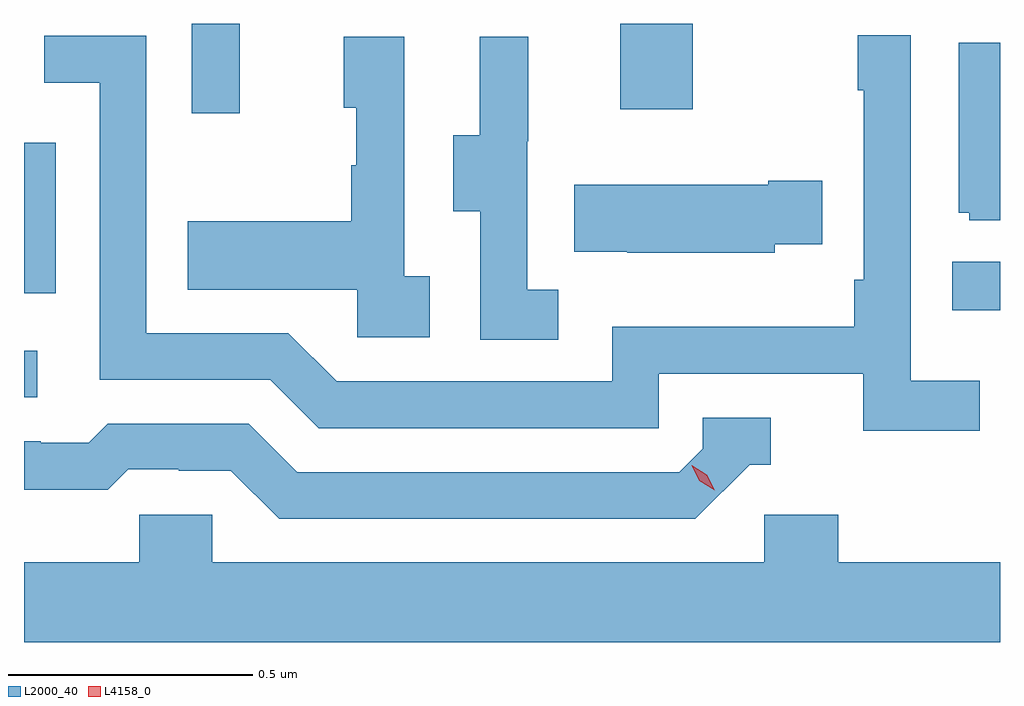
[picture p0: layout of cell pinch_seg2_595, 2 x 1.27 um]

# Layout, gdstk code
import gdstk
lib = gdstk.Library(unit=1e-6, precision=1e-09)
def R(c, l, rs):  # rectangles x0, y0, x1, y1
    for r in rs: c.add(gdstk.rectangle(r[:2], r[2:], *l))
def P(c, l, *ps):  # polygons
    for p in ps: c.add(gdstk.Polygon(p, *l))
L2000_40 = (2000, 40)
L4158_0 = (4158, 0)

pinch_seg2_595 = lib.new_cell('pinch_seg2_595')
R(pinch_seg2_595, L2000_40, [(1137.787,608.178,1137.814,608.274), (1139.689,608.357,1139.787,608.456), (1137.787,608.391,1137.852,608.7), (1138.131,608.76,1138.229,608.944), (1139.009,608.769,1139.157,608.944)])
P(pinch_seg2_595, L2000_40, [(1139.746,608.212),(1139.604,608.212),(1139.604,608.92),(1139.496,608.92),(1139.496,608.807),(1139.508,608.807),(1139.508,608.419),(1139.488,608.419),(1139.488,608.323),(1138.992,608.323),(1138.992,608.211),(1138.428,608.211),(1138.329,608.31),(1138.038,608.31),(1138.038,608.919),(1137.829,608.919),(1137.829,608.823),(1137.942,608.823),(1137.942,608.214),(1138.292,608.214),(1138.391,608.115),(1139.088,608.115),(1139.088,608.226),(1139.507,608.226),(1139.507,608.11),(1139.746,608.11)],
  [(1138.882,608.399),(1138.818,608.399),(1138.818,608.703),(1138.82,608.703),(1138.82,608.917),(1138.721,608.917),(1138.721,608.715),(1138.667,608.715),(1138.667,608.56),(1138.722,608.56),(1138.722,608.296),(1138.882,608.296)],
  [(1138.618,608.426),(1138.566,608.426),(1138.566,608.917),(1138.442,608.917),(1138.442,608.772),(1138.468,608.772),(1138.468,608.654),(1138.458,608.654),(1138.458,608.539),(1138.123,608.539),(1138.123,608.399),(1138.47,608.399),(1138.47,608.301),(1138.618,608.301)],
  [(1139.787,608.905),(1139.702,608.905),(1139.702,608.556),(1139.724,608.556),(1139.724,608.541),(1139.787,608.541)],
  [(1139.325,608.492),(1139.423,608.492),(1139.423,608.622),(1139.312,608.622),(1139.312,608.614),(1138.915,608.614),(1138.915,608.477),(1139.023,608.477),(1139.023,608.474),(1139.325,608.474)],
  [(1139.274,608.04),(1139.317,608.04),(1139.317,608.136),(1139.178,608.136),(1139.178,608.073),(1139.13,608.025),(1138.347,608.025),(1138.248,608.124),(1137.959,608.124),(1137.92,608.085),(1137.821,608.085),(1137.821,608.088),(1137.787,608.088),(1137.787,607.989),(1137.959,607.989),(1138.001,608.031),(1138.104,608.031),(1138.104,608.028),(1138.211,608.028),(1138.31,607.929),(1139.163,607.929)],
  [(1139.787,607.84),(1139.456,607.84),(1139.456,607.938),(1139.304,607.938),(1139.304,607.84),(1138.173,607.84),(1138.173,607.938),(1138.023,607.938),(1138.023,607.84),(1137.787,607.84),(1137.787,607.676),(1139.787,607.676)])
P(pinch_seg2_595, L4158_0, [(1139.202,607.988),(1139.171,608.007),(1139.155,608.039),(1139.155,608.039),(1139.155,608.039),(1139.186,608.02),(1139.202,607.988),(1139.202,607.988)])

lib.write_gds('pinch_seg2_595.gds')
